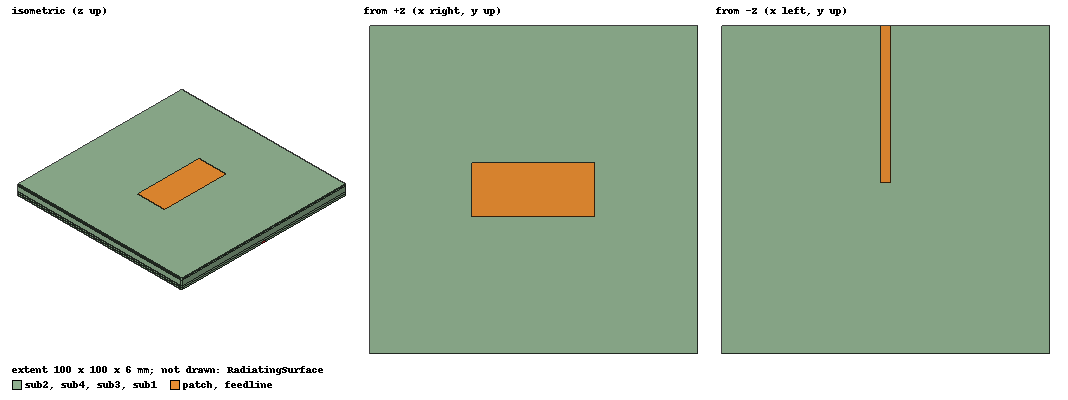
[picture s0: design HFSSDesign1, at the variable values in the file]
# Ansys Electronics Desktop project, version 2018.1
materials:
  vacuum: permittivity=1
  F4BM220: permittivity=2.2 dielectric_loss_tangent=0.001
  copper: permeability=0.999991 conductivity=58000000

design HFSSDesign1 (HFSS, DrivenModal, model units mm)
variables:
  l1 = 100mm
  l2 = 37.5mm
  w1 = 100mm
  w2 = 16.5mm
  h1 = 1mm
  l3 = 24mm
  h2 = 3mm
  w3 = 120mm
  h3 = 1mm
  l4 = 47.75mm
  h4 = 1mm
  w4 = 3mm
  p = 12.5mm
  d1 = 1mm
  l11 = 2.8mm
  ring = 0.5mm
  l22 = 1.75mm
  gap = 0.2mm
  w_slot = 2mm
  l33 = 8.5mm
  d2 = 1.5mm
  l5 = 44mm
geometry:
  sub4 [F4BM220] = box(corner=(-l1/2, -w1/2, 0mm), size=(l1, w1, h4))
  sub3 [F4BM220] = box(corner=(-l1/2, -w1/2, h4), size=(l1, w1, h3))
  sub2 [F4BM220] = box(corner=(-l1/2, -w1/2, h4+h3), size=(l1, w1, h2))
  sub1 [F4BM220] = box(corner=(-l1/2, -w1/2, h4+h3+h2), size=(l1, w1, h1))
  gnd = rectangle(corner=(-l1/2, -w1/2, h4), x_size=l1, y_size=w1)
  slot = rectangle(corner=(-l3/2, l1/2-l5-w_slot/2, h4), x_size=l3, y_size=w_slot)
  gnd.subtract(slot)
  feedline = rectangle(corner=(-w4/2, l1/2, 0mm), x_size=w4, y_size=-l4)
  patch = rectangle(corner=(-l2/2, -w2/2, h1+h2+h3+h4), x_size=l2, y_size=w2)
  Rectangle1 = rectangle(corner=(-w4/2, l1/2, 0mm), z_size=h4, x_size=w4)
  srr_l = rectangle(corner=(l22/2, -l33/2, h4+h3), x_size=l11, y_size=l33)
  Rectangle3 = rectangle(corner=(l22/2, -l33/2, h4+h3+h2), x_size=l11, y_size=l33)
  Rectangle4 = rectangle(corner=(-l22/2, -l33/2, h4+h3), x_size=-l11, y_size=l33)
  Rectangle5 = rectangle(corner=(-l22/2, -l33/2, h4+h3+h2), x_size=-l11, y_size=l33)
  srr_l.unite(Rectangle3, Rectangle4, Rectangle5)
  srr_l_1 = srr_l.duplicate_along_line(step=(-p/2, -p/2, 0mm), total=2)
  srr_l_2 = srr_l.duplicate_along_line(step=(-p-p/2, -p/2, 0mm), total=2)
  srr_l_3 = srr_l.duplicate_along_line(step=(-p/2, p/2, 0mm), total=2)
  srr_l_4 = srr_l.duplicate_along_line(step=(-p-p/2, p/2, 0mm), total=2)
  srr_l_5 = srr_l.duplicate_along_line(step=(p/2, -p/2, 0mm), total=2)
  srr_l_6 = srr_l.duplicate_along_line(step=(p/2+p, -p/2, 0mm), total=2)
  srr_l_7 = srr_l.duplicate_along_line(step=(p/2, p/2, 0mm), total=2)
  srr_l_8 = srr_l.duplicate_along_line(step=(p/2+p, p/2, 0mm), total=2)
  srr_l.delete()
  srr_c = cylinder(axis=Z, base_centre=(-l11/2-l22/2, -l33/2+d1/2+d2, h4+h3), radius=d1/2, height=h2)
  Cylinder2 = cylinder(axis=Z, base_centre=(-l11/2-l22/2, l33/2-d1/2-d2, h4+h3), radius=d1/2, height=h2)
  Cylinder3 = cylinder(axis=Z, base_centre=(l11/2+l22/2, l33/2-d1/2-d2, h4+h3), radius=d1/2, height=h2)
  Cylinder4 = cylinder(axis=Z, base_centre=(l11/2+l22/2, -l33/2+d1/2+d2, h4+h3), radius=d1/2, height=h2)
  srr_c.unite(Cylinder2, Cylinder3, Cylinder4)
  srr_c_1 [copper] = srr_c.duplicate_along_line(step=(-p/2, -p/2, 0mm), total=2)
  srr_c_2 [copper] = srr_c.duplicate_along_line(step=(-p-p/2, -p/2, 0mm), total=2)
  srr_c_3 [copper] = srr_c.duplicate_along_line(step=(-p/2, p/2, 0mm), total=2)
  srr_c_4 [copper] = srr_c.duplicate_along_line(step=(-p/2-p, p/2, 0mm), total=2)
  srr_c_5 [copper] = srr_c.duplicate_along_line(step=(p/2, -p/2, 0mm), total=2)
  srr_c_6 [copper] = srr_c.duplicate_along_line(step=(p/2, p/2, 0), total=2)
  srr_c_7 [copper] = srr_c.duplicate_along_line(step=(p+p/2, -p/2, 0), total=2)
  srr_c_8 [copper] = srr_c.duplicate_along_line(step=(p+p/2, p/2, 0mm), total=2)
  srr_c.delete()
  RadiatingSurface [vacuum] = region(absolute_offset=40mm on all sides)
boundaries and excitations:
  PerfE1: Perfect E Objects=gnd
  PerfE2: Perfect E Objects=[feedline, patch]
  PerfE3: Perfect E Objects=[srr_l_2..srr_l_8, srr_l_1]
  Open1: Radiation Objects=RadiatingSurface
  1: Lumped Port Objects=Rectangle1 Modes{Mode1{IntLine{middle of Rectangle1.edge(z opposite corner) -> middle of Rectangle1.edge(z at corner)} CharImp=Zpi RenormImp=50ohm}} Impedance=50ohm
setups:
  Setup1: HfssDriven Frequency=2.5GHz MaxDeltaS=0.02 MaximumPasses=20 MinimumPasses=1 MinimumConvergedPasses=1 PercentRefinement=30 BasisOrder=1 PortAccuracy=2
    sweep Sweep: 2GHz to 5GHz step 0.02GHz; Type=Fast SaveFields
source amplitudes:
  1:1: 1W 0deg
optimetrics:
  ParametricSetup1: Parametric Sim._Setups=[Setup1]
    sweep l2: LIN 31mm 40mm 0.5mm
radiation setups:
  3D: Infinite Sphere Theta=0deg..180deg step 2deg Phi=-180deg..180deg step 2deg
  Elevation: Infinite Sphere Theta=-180deg..180deg step 1deg Phi=0deg..90deg step 90deg
  Azimuth: Infinite Sphere Theta=90deg..90deg step 0deg Phi=-180deg..180deg step 1deg
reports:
  S Parameter Plot 2: dB(S(1,1)) vs Freq on Setup1 : Sweep [l2=all l3=all l33=all]
  S Parameter Plot 3: dB(S(1,1)) vs Freq on Setup1 : Sweep [l3=all l33=all]
  S Parameter Plot 4: dB(S(1,1)) vs Freq on Setup1 : Sweep [l3=all l33=all]
  S Parameter Plot 5: dB(S(1,1)) vs Freq on Setup1 : Sweep [l2=all]
  S Parameter Plot 6: dB(S(1,1)) vs Freq on Setup1 : Sweep [l2=all]
  S Parameter Plot 7: dB(S(1,1)) vs Freq on Setup1 : Sweep [l2=all w2=all]
